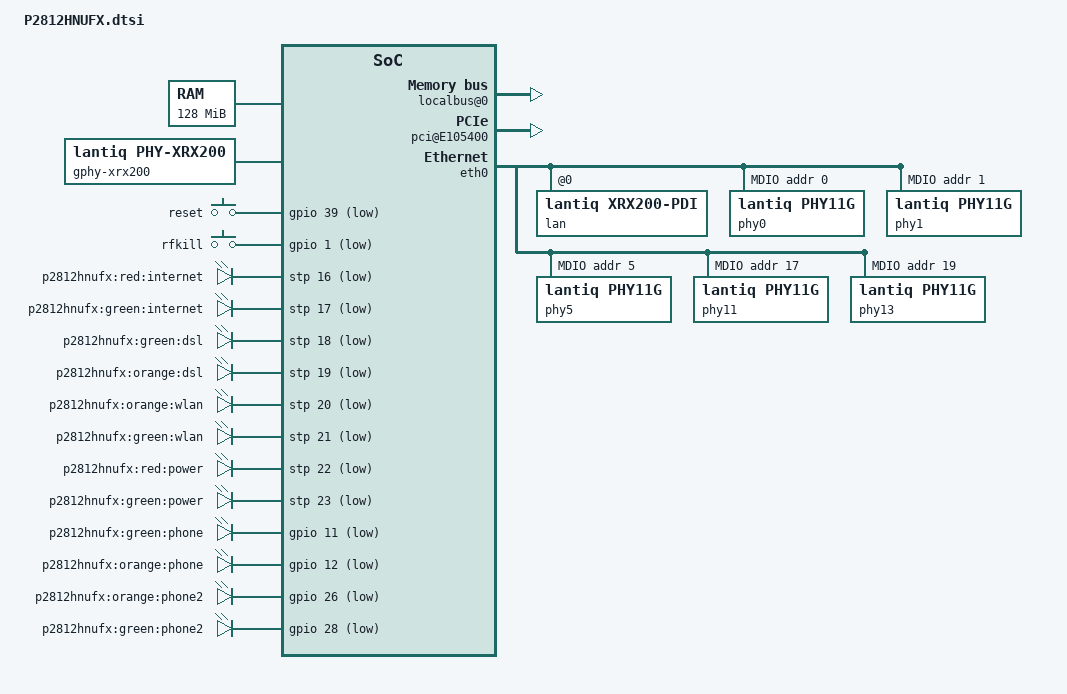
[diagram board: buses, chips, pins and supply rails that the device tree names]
/include/ "vr9.dtsi"

/ {
	chosen {
		bootargs = "console=ttyLTQ0,115200 init=/etc/preinit";

		leds {
			boot = &power_green;
			failsafe = &power_red;
			running = &power_green;

			dsl = &dsl_green;
			internet = &internet_green;
			wifi = &wireless_green;
		};
	};

	memory@0 {
		reg = <0x0 0x8000000>;
	};

        fpi@10000000 {
		#address-cells = <1>;
		#size-cells = <1>;
		compatible = "lantiq,fpi", "simple-bus";
		ranges = <0x0 0x10000000 0xEEFFFFF>;
		reg = <0x10000000 0xEF00000>;

		localbus@0 {
			#address-cells = <2>;
			#size-cells = <1>;
			ranges = <0 0 0x0 0x3ffffff /* addrsel0 */
				1 0 0x4000000 0x4000010>; /* addsel1 */
			compatible = "lantiq,localbus", "simple-bus";
		};

		gpio: pinmux@E100B10 {
			compatible = "lantiq,pinctrl-xr9";
			pinctrl-names = "default";
			pinctrl-0 = <&state_default>;

			interrupt-parent = <&icu0>;
			interrupts = <166 135 66 40 41 42 38>;

			#gpio-cells = <2>;
			gpio-controller;
			reg = <0xE100B10 0xA0>;

			state_default: pinmux {
				exin3 {
					lantiq,groups = "exin3";
					lantiq,function = "exin";
				};
				mdio {
					lantiq,groups = "mdio";
					lantiq,function = "mdio";
				};
				gphy-leds {
					lantiq,groups = "gphy0 led1", "gphy1 led1",
							"gphy0 led2", "gphy1 led2";
					lantiq,function = "gphy";
					lantiq,pull = <2>;
					lantiq,open-drain = <0>;
					lantiq,output = <1>;
				};
				stp {
					lantiq,groups = "stp";
					lantiq,function = "stp";
					lantiq,pull = <2>;
					lantiq,open-drain = <0>;
					lantiq,output = <1>;
				};
				pci-in {
					lantiq,groups = "req1";
					lantiq,function = "pci";
					lantiq,output = <0>;
					lantiq,open-drain = <1>;
					lantiq,pull = <2>;
				};
				pci-out {
					lantiq,groups = "gnt1";
					lantiq,function = "pci";
					lantiq,output = <1>;
					lantiq,open-drain = <0>;
					lantiq,pull = <0>;
				};
				pci_rst {
					lantiq,pins = "io21";
					lantiq,output = <1>;
					lantiq,open-drain = <0>;
					lantiq,pull = <2>;
				};
				pcie-rst {
					lantiq,pins = "io38";
					lantiq,pull = <0>;
					lantiq,output = <1>;
				};
				ifxhcd-rst {
					lantiq,pins = "io33";
					lantiq,pull = <0>;
					lantiq,open-drain = <0>;
					lantiq,output = <1>;
				};
				nand_out {
					lantiq,groups = "nand cle", "nand ale";
					lantiq,function = "ebu";
					lantiq,output = <1>;
					lantiq,open-drain = <0>;
					lantiq,pull = <0>;
				};
				nand_cs1 {
					lantiq,groups = "nand cs1";
					lantiq,function = "ebu";
					lantiq,open-drain = <0>;
					lantiq,pull = <0>;
				};
			};
		};

		stp: stp@E100BB0 {
			compatible = "lantiq,gpio-stp-xway";
			reg = <0xE100BB0 0x40>;
			#gpio-cells = <2>;
			gpio-controller;

			lantiq,shadow = <0xffffff>;
			lantiq,groups = <0x7>;
			lantiq,dsl = <0x0>;
			lantiq,phy1 = <0x0>;
			lantiq,phy2 = <0x0>;
		};

		ifxhcd@E101000 {
			status = "okay";
			gpios = <&gpio 33 0>;
			lantiq,portmask = <0x3>;
		};

		ifxhcd@E106000 {
			status = "okay";
			gpios = <&gpio 33 0>;
		};

		pci@E105400 {
			status = "okay";
			#address-cells = <3>;
			#size-cells = <2>;
			#interrupt-cells = <1>;
			compatible = "lantiq,pci-xway";
			bus-range = <0x0 0x0>;
			ranges = <0x2000000 0 0x8000000 0x8000000 0 0x2000000   /* pci memory */
				0x1000000 0 0x00000000 0xAE00000 0 0x200000>; /* io space */
			reg = <0x7000000 0x8000         /* config space */
				0xE105400 0x400>;       /* pci bridge */
			lantiq,bus-clock = <33333333>;
			/*lantiq,external-clock;*/
			lantiq,delay-hi = <0>; /* 0ns delay */
			lantiq,delay-lo = <0>; /* 0.0ns delay */
			interrupt-map-mask = <0xf800 0x0 0x0 0x7>;
			interrupt-map = <
				0x7000 0 0 1 &icu0 30 1 // slot 14, irq 30
				>;
			gpio-reset = <&gpio 21 0>;
			req-mask = <0x1>;	/* GNT1 */
		};
	};

	gphy-xrx200 {
		compatible = "lantiq,phy-xrx200";
		firmware1 = "lantiq/vr9_phy11g_a1x.bin";	/*VR9 1.1*/
		firmware2 = "lantiq/vr9_phy11g_a2x.bin";	/*VR9 1.2*/
		phys = [ 00 01 ];
	};

	gpio-keys-polled {
		compatible = "gpio-keys-polled";
		#address-cells = <1>;
		#size-cells = <0>;
		poll-interval = <100>;

		reset {
			label = "reset";
			gpios = <&gpio 39 1>;
			linux,code = <0x198>;
		};

		rfkill {
			label = "rfkill";
			gpios = <&gpio 1 1>;
			linux,code = <0xf7>;
		};
	};

	gpio-leds {
		compatible = "gpio-leds";

		internet_red {
			label = "p2812hnufx:red:internet";
			gpios = <&stp 16 1>;
		};
		internet_green: internet_green {
			label = "p2812hnufx:green:internet";
			gpios = <&stp 17 1>;
		};
		dsl_green: dsl_green {
			label = "p2812hnufx:green:dsl";
			gpios = <&stp 18 1>;
		};
		dsl_orange {
			label = "p2812hnufx:orange:dsl";
			gpios = <&stp 19 1>;
		};
		wireless_orange {
			label = "p2812hnufx:orange:wlan";
			gpios = <&stp 20 1>;
		};
		wireless_green: wireless_green {
			label = "p2812hnufx:green:wlan";
			gpios = <&stp 21 1>;
		};
		power_red: power {
			label = "p2812hnufx:red:power";
			gpios = <&stp 22 1>;
		};
		power_green: power2 {
			label = "p2812hnufx:green:power";
			gpios = <&stp 23 1>;
			default-state = "keep";
		};
		phone1 {
			label = "p2812hnufx:green:phone";
			gpios = <&gpio 11 1>;
		};
		phone1warn {
			label = "p2812hnufx:orange:phone";
			gpios = <&gpio 12 1>;
		};
		phone2warn {
			label = "p2812hnufx:orange:phone2";
			gpios = <&gpio 26 1>;
		};
		phone2 {
			label = "p2812hnufx:green:phone2";
			gpios = <&gpio 28 1>;
		};
	};
};

&eth0 {
	lan: interface@0 {
		compatible = "lantiq,xrx200-pdi";
		#address-cells = <1>;
		#size-cells = <0>;
		reg = <0>;
		mac-address = [ 00 11 22 33 44 55 ];
		lantiq,switch;

		ethernet@0 {
			compatible = "lantiq,xrx200-pdi-port";
			reg = <0>;
			phy-mode = "rgmii";
			phy-handle = <&phy0>;
		};
		ethernet@1 {
			compatible = "lantiq,xrx200-pdi-port";
			reg = <1>;
			phy-mode = "rgmii";
			phy-handle = <&phy1>;
		};
		ethernet@2 {
			compatible = "lantiq,xrx200-pdi-port";
			reg = <2>;
			phy-mode = "gmii";
			phy-handle = <&phy11>;
		};
		ethernet@4 {
			compatible = "lantiq,xrx200-pdi-port";
			reg = <4>;
			phy-mode = "gmii";
			phy-handle = <&phy13>;
		};
		ethernet@5 {
			compatible = "lantiq,xrx200-pdi-port";
			reg = <5>;
			phy-mode = "rgmii";
			phy-handle = <&phy5>;
		};
	};

	mdio@0 {
		#address-cells = <1>;
		#size-cells = <0>;
		compatible = "lantiq,xrx200-mdio";

		phy0: ethernet-phy@0 {
			reg = <0x0>;
			compatible = "lantiq,phy11g", "ethernet-phy-ieee802.3-c22";
		};
		phy1: ethernet-phy@1 {
			reg = <0x1>;
			compatible = "lantiq,phy11g", "ethernet-phy-ieee802.3-c22";
		};
		phy5: ethernet-phy@5 {
			reg = <0x5>;
			compatible = "lantiq,phy11g", "ethernet-phy-ieee802.3-c22";
		};
		phy11: ethernet-phy@11 {
			reg = <0x11>;
			compatible = "lantiq,phy11g", "ethernet-phy-ieee802.3-c22";
		};
		phy13: ethernet-phy@13 {
			reg = <0x13>;
			compatible = "lantiq,phy11g", "ethernet-phy-ieee802.3-c22";
		};
	};
};
